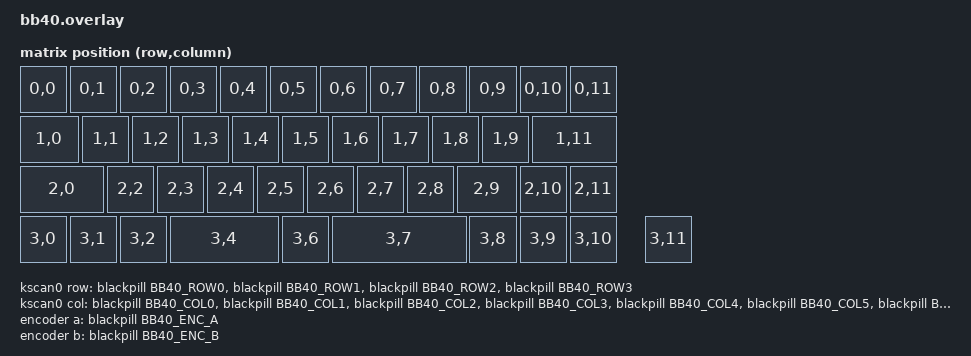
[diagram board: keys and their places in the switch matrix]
/*
 * Copyright (c) 2026 The ZMK Contributors
 * SPDX-License-Identifier: MIT
 *
 * ZMK shield for the MechWild BB40, built on the "blackpill" interconnect so
 * it works unmodified on both a real WeAct BlackPill and a MechWild PillBug.
 */

#include <dt-bindings/zmk/matrix_transform.h>
#include <physical_layouts.dtsi>

/*
 * ============================================================================
 *  PIN MAP -- FILL THIS IN BEFORE BUILDING
 * ============================================================================
 * These numbers are indices into the shared "blackpill" pin interconnect
 * (the same one used by real BlackPill boards AND the PillBug), NOT raw
 * STM32/nRF pin numbers. That's what makes the same shield file work on
 * both boards.
 *
 * To fill these in: open the ZMK docs page below, select the "BlackPill
 * Shields" tab under the Kscan pinout diagram, and read off the number
 * printed next to each pin labeled below (the diagram uses the same STM32
 * pin names as your info.json, e.g. "B10", "A7", "C15").
 *
 *   https://zmk.dev/docs/development/hardware-integration/new-shield#kscan
 *
 * See PIN_MAPPING_WORKSHEET.md in this repo for a fill-in table matching
 * every pin below to your BB40's info.json.
 * ============================================================================
 */

/* Columns, in the same order as info.json matrix_pins.cols */
#define BB40_COL0   21   /* TODO: B10 */
#define BB40_COL1   19   /* TODO: B1  */
#define BB40_COL2   18   /* TODO: B0  */
#define BB40_COL3   17   /* TODO: A7  */
#define BB40_COL4   16   /* TODO: A6  */
#define BB40_COL5   15   /* TODO: A5  */
#define BB40_COL6   14   /* TODO: A4  */
#define BB40_COL7   13   /* TODO: A3  */
#define BB40_COL8   12   /* TODO: A2  */
#define BB40_COL9   11   /* TODO: A1  */
#define BB40_COL10  10   /* TODO: A0  */
#define BB40_COL11  4   /* TODO: C15 */

/* Rows, in the same order as info.json matrix_pins.rows */
#define BB40_ROW0   25   /* TODO: B12 */
#define BB40_ROW1   26   /* TODO: B13 */
#define BB40_ROW2   27   /* TODO: B14 */
#define BB40_ROW3   28   /* TODO: B15 */

/* Encoder A/B pins */
#define BB40_ENC_A  40   /* TODO: B4 */
#define BB40_ENC_B  39   /* TODO: B3 */

/ {
    chosen {
        zmk,kscan = &kscan0;
        zmk,physical-layout = &bb40_physical_layout;
    };

    kscan0: kscan0 {
        compatible = "zmk,kscan-gpio-matrix";
        diode-direction = "col2row";
        wakeup-source;

        col-gpios
            = <&blackpill BB40_COL0  GPIO_ACTIVE_HIGH>
            , <&blackpill BB40_COL1  GPIO_ACTIVE_HIGH>
            , <&blackpill BB40_COL2  GPIO_ACTIVE_HIGH>
            , <&blackpill BB40_COL3  GPIO_ACTIVE_HIGH>
            , <&blackpill BB40_COL4  GPIO_ACTIVE_HIGH>
            , <&blackpill BB40_COL5  GPIO_ACTIVE_HIGH>
            , <&blackpill BB40_COL6  GPIO_ACTIVE_HIGH>
            , <&blackpill BB40_COL7  GPIO_ACTIVE_HIGH>
            , <&blackpill BB40_COL8  GPIO_ACTIVE_HIGH>
            , <&blackpill BB40_COL9  GPIO_ACTIVE_HIGH>
            , <&blackpill BB40_COL10 GPIO_ACTIVE_HIGH>
            , <&blackpill BB40_COL11 GPIO_ACTIVE_HIGH>
            ;

        row-gpios
            = <&blackpill BB40_ROW0 (GPIO_ACTIVE_HIGH | GPIO_PULL_DOWN)>
            , <&blackpill BB40_ROW1 (GPIO_ACTIVE_HIGH | GPIO_PULL_DOWN)>
            , <&blackpill BB40_ROW2 (GPIO_ACTIVE_HIGH | GPIO_PULL_DOWN)>
            , <&blackpill BB40_ROW3 (GPIO_ACTIVE_HIGH | GPIO_PULL_DOWN)>
            ;
    };

    /*
     * Matrix transform: 44 real key positions out of the 4x12 = 48 possible
     * RC() combinations (4 positions are unused holes in the matrix).
     * Order matches info.json's LAYOUT_all listing exactly, row by row.
     */
    default_transform: keymap_transform_0 {
        compatible = "zmk,matrix-transform";
        columns = <12>;
        rows = <4>;
        map =
            <RC(0,0)  RC(0,1)  RC(0,2)  RC(0,3)  RC(0,4)  RC(0,5)  RC(0,6)  RC(0,7)  RC(0,8)  RC(0,9)  RC(0,10) RC(0,11)>,
            <RC(1,0)  RC(1,1)  RC(1,2)  RC(1,3)  RC(1,4)  RC(1,5)  RC(1,6)  RC(1,7)  RC(1,8)  RC(1,9)  RC(1,11)>,
            <RC(2,0)  RC(2,2)  RC(2,3)  RC(2,4)  RC(2,5)  RC(2,6)  RC(2,7)  RC(2,8)  RC(2,9)  RC(2,10) RC(2,11)>,
            <RC(3,0)  RC(3,1)  RC(3,2)  RC(3,4)  RC(3,6)  RC(3,7)  RC(3,8)  RC(3,9)  RC(3,10) RC(3,11)>;
    };

    /* Physical layout for ZMK Studio: w h x y rot rx ry, 1u = 100 */
    bb40_physical_layout: bb40_physical_layout {
        compatible = "zmk,physical-layout";
        display-name = "BB40";
        transform = <&default_transform>;
        kscan = <&kscan0>;
        keys
            = <&key_physical_attrs 100 100 0    0   0 0 0>
            , <&key_physical_attrs 100 100 100  0   0 0 0>
            , <&key_physical_attrs 100 100 200  0   0 0 0>
            , <&key_physical_attrs 100 100 300  0   0 0 0>
            , <&key_physical_attrs 100 100 400  0   0 0 0>
            , <&key_physical_attrs 100 100 500  0   0 0 0>
            , <&key_physical_attrs 100 100 600  0   0 0 0>
            , <&key_physical_attrs 100 100 700  0   0 0 0>
            , <&key_physical_attrs 100 100 800  0   0 0 0>
            , <&key_physical_attrs 100 100 900  0   0 0 0>
            , <&key_physical_attrs 100 100 1000 0   0 0 0>
            , <&key_physical_attrs 100 100 1100 0   0 0 0>
            , <&key_physical_attrs 125 100 0    100 0 0 0>
            , <&key_physical_attrs 100 100 125  100 0 0 0>
            , <&key_physical_attrs 100 100 225  100 0 0 0>
            , <&key_physical_attrs 100 100 325  100 0 0 0>
            , <&key_physical_attrs 100 100 425  100 0 0 0>
            , <&key_physical_attrs 100 100 525  100 0 0 0>
            , <&key_physical_attrs 100 100 625  100 0 0 0>
            , <&key_physical_attrs 100 100 725  100 0 0 0>
            , <&key_physical_attrs 100 100 825  100 0 0 0>
            , <&key_physical_attrs 100 100 925  100 0 0 0>
            , <&key_physical_attrs 175 100 1025 100 0 0 0>
            , <&key_physical_attrs 175 100 0    200 0 0 0>
            , <&key_physical_attrs 100 100 175  200 0 0 0>
            , <&key_physical_attrs 100 100 275  200 0 0 0>
            , <&key_physical_attrs 100 100 375  200 0 0 0>
            , <&key_physical_attrs 100 100 475  200 0 0 0>
            , <&key_physical_attrs 100 100 575  200 0 0 0>
            , <&key_physical_attrs 100 100 675  200 0 0 0>
            , <&key_physical_attrs 100 100 775  200 0 0 0>
            , <&key_physical_attrs 125 100 875  200 0 0 0>
            , <&key_physical_attrs 100 100 1000 200 0 0 0>
            , <&key_physical_attrs 100 100 1100 200 0 0 0>
            , <&key_physical_attrs 100 100 0    300 0 0 0>
            , <&key_physical_attrs 100 100 100  300 0 0 0>
            , <&key_physical_attrs 100 100 200  300 0 0 0>
            , <&key_physical_attrs 225 100 300  300 0 0 0>
            , <&key_physical_attrs 100 100 525  300 0 0 0>
            , <&key_physical_attrs 275 100 625  300 0 0 0>
            , <&key_physical_attrs 100 100 900  300 0 0 0>
            , <&key_physical_attrs 100 100 1000 300 0 0 0>
            , <&key_physical_attrs 100 100 1100 300 0 0 0>
            , <&key_physical_attrs 100 100 1250 300 0 0 0>
            ;
    };

    /* Rotary encoder (push-button is a normal matrix key at RC(3,11)) */
    encoder: encoder {
        compatible = "alps,ec11";
        a-gpios = <&blackpill BB40_ENC_A (GPIO_ACTIVE_HIGH | GPIO_PULL_UP)>;
        b-gpios = <&blackpill BB40_ENC_B (GPIO_ACTIVE_HIGH | GPIO_PULL_UP)>;
        resolution = <4>;
        steps = <20>;
    };

    sensors {
        compatible = "zmk,keymap-sensors";
        sensors = <&encoder>;
    };
};
